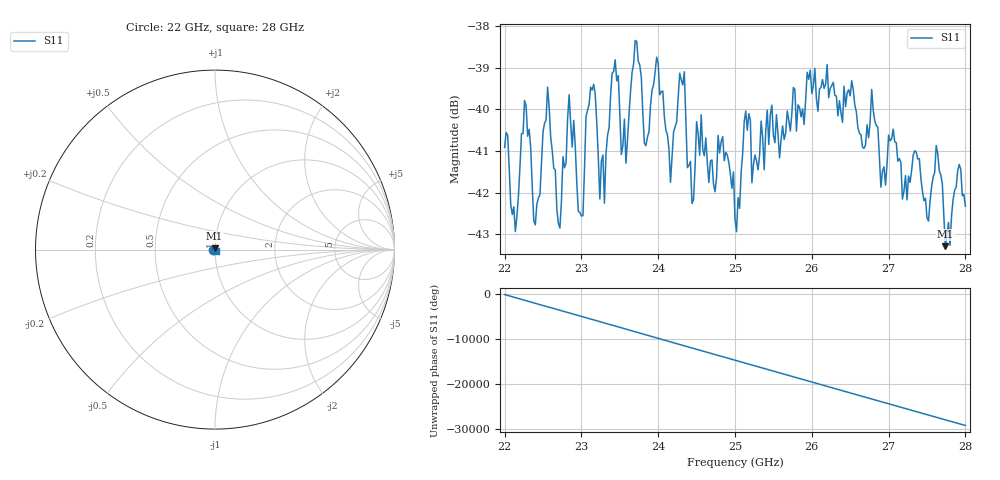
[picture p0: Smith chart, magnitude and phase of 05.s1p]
#  HZ  S  RI  R  50.00
! Rohde & Schwarz ZVA40 4Ports - Version 3.90 - 1145.1110k42 SN: 100403
! Date: 2023-10-04 08:27:00
! Measurement: S12
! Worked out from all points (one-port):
!   301 points, 22 GHz to 28 GHz, reference 50 ohm
!   lowest |S11| = -43.3 dB at 27.74 GHz (marker M1), VSWR 1.01, Z = 49.7 + j0.633 ohm
!   |S11| at or under -10 dB: start of sweep to end of sweep
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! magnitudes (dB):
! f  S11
! 22 GHz  -40.9
! 22.14 GHz  -42.9
! 22.26 GHz  -39.8
! 22.4 GHz  -42.8
! 22.56 GHz  -39.5
! 22.7 GHz  -42.7
! 22.76 GHz  -41.1
! 22.84 GHz  -39.6
! 23.02 GHz  -42.5
! 23.16 GHz  -39.4
! 23.3 GHz  -42.2
! 23.4 GHz  -39.1
! 23.5 GHz  -40.1
! 23.98 GHz  -38.7
! 24.16 GHz  -41.7
! 24.26 GHz  -39.7
! 24.34 GHz  -39.1
! 24.44 GHz  -42.3
! 24.56 GHz  -40.1
! 25 GHz  -42.6
! 25.14 GHz  -40.0
! 25.22 GHz  -41.8
! 25.76 GHz  -39.5
! 26.5 GHz  -39.7
! 27.26 GHz  -41.6
! 27.62 GHz  -40.9
! 27.74 GHz  -43.3
! 28 GHz  -42.3
